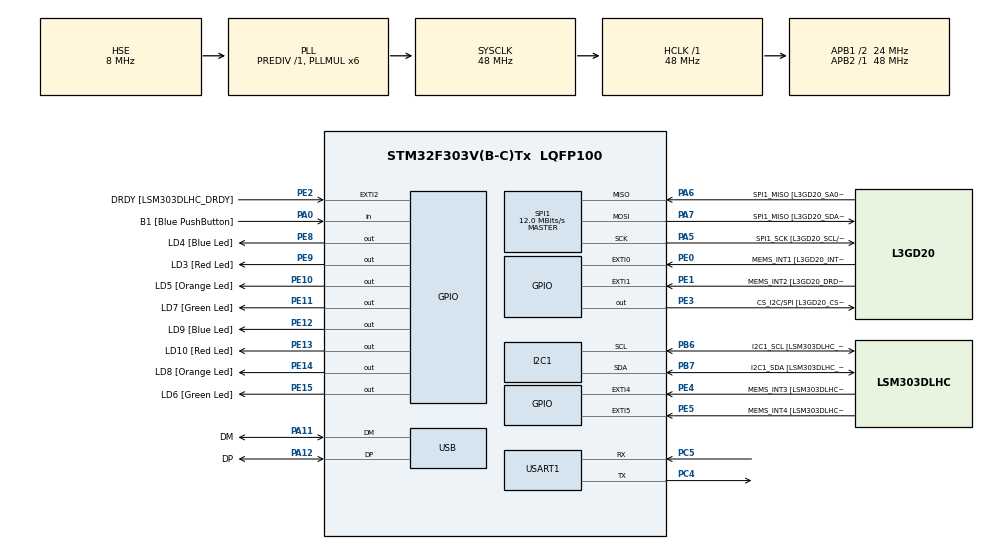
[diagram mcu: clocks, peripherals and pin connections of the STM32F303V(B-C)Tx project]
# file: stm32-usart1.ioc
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I2C1.Timing=0x2000090E
I2C1.Timing-I2C=0x2000090E
Mcu.Family=STM32F3
Mcu.Name=STM32F303V(B-C)Tx
Mcu.Package=LQFP100
NVIC.PriorityGroup=NVIC_PRIORITYGROUP_0
PA0.GPIO_Label=B1 [Blue PushButton]
PA0.Signal=GPIO_Input
PA11.GPIO_Label=DM
PA11.Mode=Device
PA11.Signal=USB_DM
PA12.GPIO_Label=DP
PA12.Mode=Device
PA12.Signal=USB_DP
PA13.GPIO_Label=SWDIO
PA13.Mode=Serial_Wire
PA13.Signal=SYS_JTMS-SWDIO
PA14.GPIO_Label=SWCLK
PA14.Mode=Serial_Wire
PA14.Signal=SYS_JTCK-SWCLK
PA5.GPIO_Label=SPI1_SCK [L3GD20_SCL/SPC]
PA5.Mode=Full_Duplex_Master
PA5.Signal=SPI1_SCK
PA6.GPIO_Label=SPI1_MISO [L3GD20_SA0/SDO]
PA6.Mode=Full_Duplex_Master
PA6.Signal=SPI1_MISO
PA7.GPIO_Label=SPI1_MISO [L3GD20_SDA/SDI/SDO]
PA7.Mode=Full_Duplex_Master
PA7.Signal=SPI1_MOSI
PB3.GPIO_Label=SWO
PB3.Signal=SYS_JTDO-TRACESWO
PB6.GPIO_Label=I2C1_SCL [LSM303DLHC_SCL]
PB6.GPIO_Pu=GPIO_PULLUP
PB6.Mode=I2C
PB6.Signal=I2C1_SCL
PB7.GPIO_Label=I2C1_SDA [LSM303DLHC_SDA]
PB7.GPIO_Pu=GPIO_PULLUP
PB7.Mode=I2C
PB7.Signal=I2C1_SDA
PC14-OSC32_IN.GPIO_Label=OSC32_IN
PC14-OSC32_IN.Signal=RCC_OSC32_IN
PC15-OSC32_OUT.GPIO_Label=OSC32_OUT
PC15-OSC32_OUT.Signal=RCC_OSC32_OUT
PC4.Mode=Asynchronous
PC4.Signal=USART1_TX
PC5.Mode=Asynchronous
PC5.Signal=USART1_RX
PE0.GPIO_Label=MEMS_INT1 [L3GD20_INT1]
PE0.GPIO_ModeDefaultEXTI=GPIO_MODE_EVT_RISING
PE0.Signal=GPXTI0
PE1.GPIO_Label=MEMS_INT2 [L3GD20_DRDY/INT2]
PE1.GPIO_ModeDefaultEXTI=GPIO_MODE_EVT_RISING
PE1.Signal=GPXTI1
PE10.GPIO_Label=LD5 [Orange Led]
PE10.Signal=GPIO_Output
PE11.GPIO_Label=LD7 [Green Led]
PE11.Signal=GPIO_Output
PE12.GPIO_Label=LD9 [Blue Led]
PE12.Signal=GPIO_Output
PE13.GPIO_Label=LD10 [Red Led]
PE13.Signal=GPIO_Output
PE14.GPIO_Label=LD8 [Orange Led]
PE14.Signal=GPIO_Output
PE15.GPIO_Label=LD6 [Green Led]
PE15.Signal=GPIO_Output
PE2.GPIO_Label=DRDY [LSM303DLHC_DRDY]
PE2.GPIO_ModeDefaultEXTI=GPIO_MODE_EVT_RISING
PE2.Signal=GPXTI2
PE3.GPIO_Label=CS_I2C/SPI [L3GD20_CS_I2C/SPI]
PE3.Signal=GPIO_Output
PE4.GPIO_Label=MEMS_INT3 [LSM303DLHC_INT1]
PE4.GPIO_ModeDefaultEXTI=GPIO_MODE_EVT_RISING
PE4.Signal=GPXTI4
PE5.GPIO_Label=MEMS_INT4 [LSM303DLHC_INT2]
PE5.GPIO_ModeDefaultEXTI=GPIO_MODE_EVT_RISING
PE5.Signal=GPXTI5
PE8.GPIO_Label=LD4 [Blue Led]
PE8.Signal=GPIO_Output
PE9.GPIO_Label=LD3 [Red Led]
PE9.Signal=GPIO_Output
PF0-OSC_IN.GPIO_Label=OSC_IN
PF0-OSC_IN.Mode=HSE-External-Clock-Source
PF0-OSC_IN.Signal=RCC_OSC_IN
PF1-OSC_OUT.GPIO_Label=OSC_OUT
PF1-OSC_OUT.Signal=RCC_OSC_OUT
ProjectManager.HeapSize=0x200
ProjectManager.StackSize=0x400
ProjectManager.TargetToolchain=STM32CubeIDE
RCC.AHBFreq_Value=48000000
RCC.APB1CLKDivider=RCC_HCLK_DIV2
RCC.APB1Freq_Value=24000000
RCC.APB1TimFreq_Value=48000000
RCC.APB2Freq_Value=48000000
RCC.APB2TimFreq_Value=48000000
RCC.CortexFreq_Value=48000000
RCC.HCLKFreq_Value=48000000
RCC.HSE_VALUE=8000000
RCC.HSI_VALUE=8000000
RCC.LSE_VALUE=32768
RCC.PLLMUL=RCC_PLL_MUL6
RCC.SYSCLKFreq_VALUE=48000000
RCC.SYSCLKSourceVirtual=RCC_SYSCLKSOURCE_PLLCLK
RCC.USBFreq_Value=48000000
SPI1.BaudRatePrescaler=SPI_BAUDRATEPRESCALER_4
SPI1.BaudRatePrescaler-Full_Duplex_Master=SPI_BAUDRATEPRESCALER_2
SPI1.CalculateBaudRate=12.0 MBits/s
SPI1.CalculateBaudRate-Full_Duplex_Master=24.0 MBits/s
SPI1.Direction=SPI_DIRECTION_2LINES
SPI1.Mode=SPI_MODE_MASTER
SPI1.Mode-Full_Duplex_Master=SPI_MODE_MASTER
SPI1.VirtualType=VM_MASTER
USART1.VirtualMode-Asynchronous=VM_ASYNC
board=STM32F3DISCOVERY

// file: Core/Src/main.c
/* USER CODE BEGIN Header */
/**
  ******************************************************************************
  * @file           : main.c
  * @brief          : Main program body
  ******************************************************************************
  * @attention
  *
  * Copyright (c) 2023 STMicroelectronics.
  * All rights reserved.
  *
  * This software is licensed under terms that can be found in the LICENSE file
  * in the root directory of this software component.
  * If no LICENSE file comes with this software, it is provided AS-IS.
  *
  ******************************************************************************
  */
/* USER CODE END Header */
#include "main.h"

I2C_HandleTypeDef hi2c1;

SPI_HandleTypeDef hspi1;

UART_HandleTypeDef huart1;

PCD_HandleTypeDef hpcd_USB_FS;

void SystemClock_Config(void);

static void MX_GPIO_Init(void);

static void MX_I2C1_Init(void);

static void MX_SPI1_Init(void);

static void MX_USART1_UART_Init(void);

static void MX_USB_PCD_Init(void);

int main(void) {

    /* MCU Configuration--------------------------------------------------------*/

    /* Reset of all peripherals, Initializes the Flash interface and the Systick. */
    HAL_Init();

    /* Configure the system clock */
    SystemClock_Config();

    /* Initialize all configured peripherals */
    MX_GPIO_Init();
    MX_I2C1_Init();
    MX_SPI1_Init();
    MX_USART1_UART_Init();
    MX_USB_PCD_Init();

    /* Infinite loop */
    /* USER CODE BEGIN WHILE */
    while (1) {
        const char s[] =
                "\n\r\b\rThis text should not be visible\r"
                "***** This is CR test. Works OK\r\n"
                "This is LF\n"
                "ladder\ntest\r\n"
                "\r\n\r\n Test UTF-8: \xd0\x9f\xd1\x80\xd0\xb8\xd0\xb2\xd0\xb5\xd1\x82\r\n"
                "\r\n\r\n Test UTF-8: привет"
                "\r\n\r\n Test Windows-1251: \xCF\xF0\xE8\xE2\xE5\xF2\r\n\r\n"
                "\r\n\r\n Test KOI-8R: \xF0\xD2\xC9\xD7\xC5\xD4\r\n\r\n"
                "\r\n\r\n Test KOI-8U: \xF0\xD2\xC9\xD7\xA6\xD4\r\n\r\n"
                "Ansi test. \x1b[1;32mThis must be bold green. \x1b[0;33m\x1b[44mThis must be yellow on blue."
                "\x1b[0m This must be normal.\r\n"
                "Echo test:";
        HAL_UART_Transmit(&huart1, s, sizeof s, 1000);
        uint32_t start = HAL_GetTick();
        while ((start + 5000) > HAL_GetTick()) {
            unsigned char c;
            HAL_StatusTypeDef status = HAL_UART_Receive(&huart1, &c, 1, 1);
            if (status == HAL_OK) {
                HAL_UART_Transmit(&huart1, &c, 1, 100);

                HAL_Delay(200);

                char *data = "\nInput: ";
                HAL_UART_Transmit(&huart1, data, 8, 100);
                HAL_UART_Transmit(&huart1, &c, 1, 100);
            }
        }
        HAL_Delay(1000);
        /* USER CODE END WHILE */
    }
}

void SystemClock_Config(void) {
    RCC_OscInitTypeDef RCC_OscInitStruct = {0};
    RCC_ClkInitTypeDef RCC_ClkInitStruct = {0};
    RCC_PeriphCLKInitTypeDef PeriphClkInit = {0};

    /** Initializes the RCC Oscillators according to the specified parameters
    * in the RCC_OscInitTypeDef structure.
    */
    RCC_OscInitStruct.OscillatorType = RCC_OSCILLATORTYPE_HSI | RCC_OSCILLATORTYPE_HSE;
    RCC_OscInitStruct.HSEState = RCC_HSE_BYPASS;
    RCC_OscInitStruct.HSEPredivValue = RCC_HSE_PREDIV_DIV1;
    RCC_OscInitStruct.HSIState = RCC_HSI_ON;
    RCC_OscInitStruct.HSICalibrationValue = RCC_HSICALIBRATION_DEFAULT;
    RCC_OscInitStruct.PLL.PLLState = RCC_PLL_ON;
    RCC_OscInitStruct.PLL.PLLSource = RCC_PLLSOURCE_HSE;
    RCC_OscInitStruct.PLL.PLLMUL = RCC_PLL_MUL6;
    if (HAL_RCC_OscConfig(&RCC_OscInitStruct) != HAL_OK) {
        Error_Handler();
    }

    /** Initializes the CPU, AHB and APB buses clocks
    */
    RCC_ClkInitStruct.ClockType = RCC_CLOCKTYPE_HCLK | RCC_CLOCKTYPE_SYSCLK
                                  | RCC_CLOCKTYPE_PCLK1 | RCC_CLOCKTYPE_PCLK2;
    RCC_ClkInitStruct.SYSCLKSource = RCC_SYSCLKSOURCE_PLLCLK;
    RCC_ClkInitStruct.AHBCLKDivider = RCC_SYSCLK_DIV1;
    RCC_ClkInitStruct.APB1CLKDivider = RCC_HCLK_DIV2;
    RCC_ClkInitStruct.APB2CLKDivider = RCC_HCLK_DIV1;

    if (HAL_RCC_ClockConfig(&RCC_ClkInitStruct, FLASH_LATENCY_1) != HAL_OK) {
        Error_Handler();
    }
    PeriphClkInit.PeriphClockSelection = RCC_PERIPHCLK_USB | RCC_PERIPHCLK_USART1
                                         | RCC_PERIPHCLK_I2C1;
    PeriphClkInit.Usart1ClockSelection = RCC_USART1CLKSOURCE_PCLK2;
    PeriphClkInit.I2c1ClockSelection = RCC_I2C1CLKSOURCE_HSI;
    PeriphClkInit.USBClockSelection = RCC_USBCLKSOURCE_PLL;
    if (HAL_RCCEx_PeriphCLKConfig(&PeriphClkInit) != HAL_OK) {
        Error_Handler();
    }
}

static void MX_I2C1_Init(void) {

    hi2c1.Instance = I2C1;
    hi2c1.Init.Timing = 0x2000090E;
    hi2c1.Init.OwnAddress1 = 0;
    hi2c1.Init.AddressingMode = I2C_ADDRESSINGMODE_7BIT;
    hi2c1.Init.DualAddressMode = I2C_DUALADDRESS_DISABLE;
    hi2c1.Init.OwnAddress2 = 0;
    hi2c1.Init.OwnAddress2Masks = I2C_OA2_NOMASK;
    hi2c1.Init.GeneralCallMode = I2C_GENERALCALL_DISABLE;
    hi2c1.Init.NoStretchMode = I2C_NOSTRETCH_DISABLE;
    if (HAL_I2C_Init(&hi2c1) != HAL_OK) {
        Error_Handler();
    }

    /** Configure Analogue filter
    */
    if (HAL_I2CEx_ConfigAnalogFilter(&hi2c1, I2C_ANALOGFILTER_ENABLE) != HAL_OK) {
        Error_Handler();
    }

    /** Configure Digital filter
    */
    if (HAL_I2CEx_ConfigDigitalFilter(&hi2c1, 0) != HAL_OK) {
        Error_Handler();
    }

}

static void MX_SPI1_Init(void) {

    /* SPI1 parameter configuration*/
    hspi1.Instance = SPI1;
    hspi1.Init.Mode = SPI_MODE_MASTER;
    hspi1.Init.Direction = SPI_DIRECTION_2LINES;
    hspi1.Init.DataSize = SPI_DATASIZE_4BIT;
    hspi1.Init.CLKPolarity = SPI_POLARITY_LOW;
    hspi1.Init.CLKPhase = SPI_PHASE_1EDGE;
    hspi1.Init.NSS = SPI_NSS_SOFT;
    hspi1.Init.BaudRatePrescaler = SPI_BAUDRATEPRESCALER_4;
    hspi1.Init.FirstBit = SPI_FIRSTBIT_MSB;
    hspi1.Init.TIMode = SPI_TIMODE_DISABLE;
    hspi1.Init.CRCCalculation = SPI_CRCCALCULATION_DISABLE;
    hspi1.Init.CRCPolynomial = 7;
    hspi1.Init.CRCLength = SPI_CRC_LENGTH_DATASIZE;
    hspi1.Init.NSSPMode = SPI_NSS_PULSE_ENABLE;
    if (HAL_SPI_Init(&hspi1) != HAL_OK) {
        Error_Handler();
    }

}

static void MX_USART1_UART_Init(void) {

    huart1.Instance = USART1;
    huart1.Init.BaudRate = 38400;
    huart1.Init.WordLength = UART_WORDLENGTH_8B;
    huart1.Init.StopBits = UART_STOPBITS_1;
    huart1.Init.Parity = UART_PARITY_NONE;
    huart1.Init.Mode = UART_MODE_TX_RX;
    huart1.Init.HwFlowCtl = UART_HWCONTROL_NONE;
    huart1.Init.OverSampling = UART_OVERSAMPLING_16;
    huart1.Init.OneBitSampling = UART_ONE_BIT_SAMPLE_DISABLE;
    huart1.AdvancedInit.AdvFeatureInit = UART_ADVFEATURE_NO_INIT;
    if (HAL_UART_Init(&huart1) != HAL_OK) {
        Error_Handler();
    }

}

static void MX_USB_PCD_Init(void) {

    hpcd_USB_FS.Instance = USB;
    hpcd_USB_FS.Init.dev_endpoints = 8;
    hpcd_USB_FS.Init.speed = PCD_SPEED_FULL;
    hpcd_USB_FS.Init.phy_itface = PCD_PHY_EMBEDDED;
    hpcd_USB_FS.Init.low_power_enable = DISABLE;
    hpcd_USB_FS.Init.battery_charging_enable = DISABLE;
    if (HAL_PCD_Init(&hpcd_USB_FS) != HAL_OK) {
        Error_Handler();
    }

}

static void MX_GPIO_Init(void) {
    GPIO_InitTypeDef GPIO_InitStruct = {0};

    /* GPIO Ports Clock Enable */
    __HAL_RCC_GPIOE_CLK_ENABLE();
    __HAL_RCC_GPIOC_CLK_ENABLE();
    __HAL_RCC_GPIOF_CLK_ENABLE();
    __HAL_RCC_GPIOA_CLK_ENABLE();
    __HAL_RCC_GPIOB_CLK_ENABLE();

    /*Configure GPIO pin Output Level */
    HAL_GPIO_WritePin(GPIOE, CS_I2C_SPI_Pin | LD4_Pin | LD3_Pin | LD5_Pin
                             | LD7_Pin | LD9_Pin | LD10_Pin | LD8_Pin
                             | LD6_Pin, GPIO_PIN_RESET);

    /*Configure GPIO pins : DRDY_Pin MEMS_INT3_Pin MEMS_INT4_Pin MEMS_INT1_Pin
                             MEMS_INT2_Pin */
    GPIO_InitStruct.Pin = DRDY_Pin | MEMS_INT3_Pin | MEMS_INT4_Pin | MEMS_INT1_Pin
                          | MEMS_INT2_Pin;
    GPIO_InitStruct.Mode = GPIO_MODE_EVT_RISING;
    GPIO_InitStruct.Pull = GPIO_NOPULL;
    HAL_GPIO_Init(GPIOE, &GPIO_InitStruct);

    /*Configure GPIO pins : CS_I2C_SPI_Pin LD4_Pin LD3_Pin LD5_Pin
                             LD7_Pin LD9_Pin LD10_Pin LD8_Pin
                             LD6_Pin */
    GPIO_InitStruct.Pin = CS_I2C_SPI_Pin | LD4_Pin | LD3_Pin | LD5_Pin
                          | LD7_Pin | LD9_Pin | LD10_Pin | LD8_Pin
                          | LD6_Pin;
    GPIO_InitStruct.Mode = GPIO_MODE_OUTPUT_PP;
    GPIO_InitStruct.Pull = GPIO_NOPULL;
    GPIO_InitStruct.Speed = GPIO_SPEED_FREQ_LOW;
    HAL_GPIO_Init(GPIOE, &GPIO_InitStruct);

    /*Configure GPIO pin : B1_Pin */
    GPIO_InitStruct.Pin = B1_Pin;
    GPIO_InitStruct.Mode = GPIO_MODE_INPUT;
    GPIO_InitStruct.Pull = GPIO_NOPULL;
    HAL_GPIO_Init(B1_GPIO_Port, &GPIO_InitStruct);

}

void Error_Handler(void) {
    __disable_irq();
    while (1) {
    }
}
